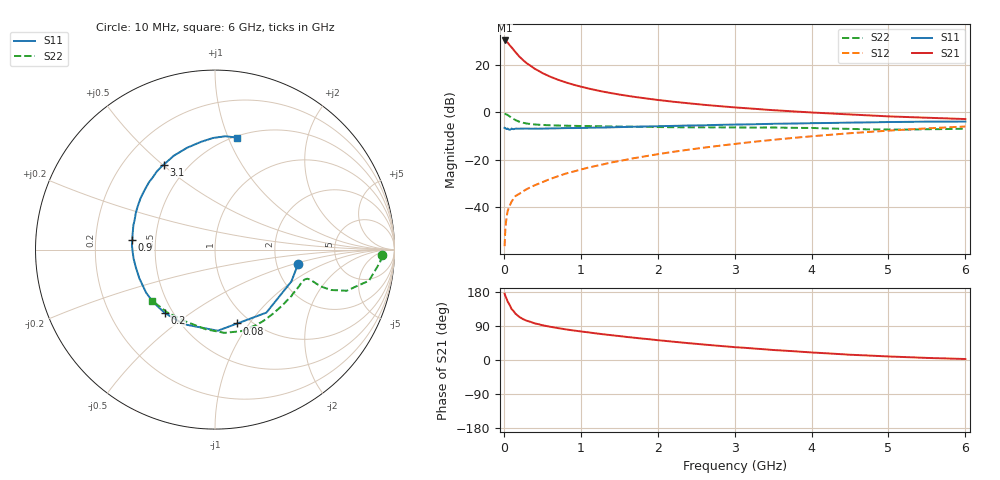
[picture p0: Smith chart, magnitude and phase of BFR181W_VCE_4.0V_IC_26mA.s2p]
! Infineon Technologies  Discrete & RF Semiconductors
! BFR181W
! VCE =  4.0 V,  IC =  26 mA
! Common Emitter S-Parameters:  Jan 2017
# GHz  S  MA  R  50
!  f  S11  S21  S12  S22
! GHz  MAG  ANG  MAG  ANG  MAG  ANG  MAG  ANG
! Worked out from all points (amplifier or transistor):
!   77 points, 10 MHz to 6 GHz, reference 50 ohm
!   highest |S21| = 30.3 dB at 10 MHz (marker M1)
!   |S21| within 3 dB of that: start of sweep to 103.1 MHz
!   unconditionally stable (mu >= 1): start of sweep to 10.66 MHz; 368.5 MHz to 2.601 GHz
!   at 130 MHz: K = 0.56, MSG = 31.2 dB, |S12| = -36.2 dB
!   at 2.2 GHz: K = 1.06, MAG = 9.1 dB, |S12| = -16.7 dB
!   at 6 GHz: K = 0.91, MSG = 1.6 dB, |S12| = -6.0 dB
!   S11 on the Smith chart (normalised r, x): 10 MHz: 2.63, -0.56; 80 MHz: 0.87, -0.88; 200 MHz: 0.45, -0.40; 900 MHz: 0.37, +0.05; 3.1 GHz: 0.37, +0.51; 6 GHz: 0.52, +1.08
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0.01  0.4696 -10.1  32.67 174.9  0.0015 80.3  0.9324 -2.0
0.02  0.4609 -22.7  32.22 168.9  0.0036 87.9  0.9215 -4.5
0.05  0.453 -50.8  29.38 154.0  0.0083 72.0  0.8755 -11.4
0.08  0.4299 -73.2  25.46 143.5  0.0111 66.9  0.8095 -14.8
0.1  0.4523 -88.0  23.46 134.7  0.013 64.7  0.7673 -17.4
0.15  0.4508 -112.8  18.62 122.5  0.0171 61.3  0.6846 -19.2
0.2  0.4503 -128.3  15.05 113.9  0.019 60.0  0.6326 -19.2
0.25  0.4522 -139.5  12.57 107.8  0.0216 59.6  0.6004 -18.7
0.3  0.4527 -147.8  10.74 103.4  0.024 62.2  0.5779 -18.1
0.4  0.4509 -159.2  8.295 96.7  0.0288 66.2  0.5529 -17.5
0.5  0.4521 -167.6  6.72 91.8  0.0335 68.2  0.5401 -17.5
0.6  0.4563 -173.6  5.651 87.8  0.0391 69.7  0.5314 -18.0
0.7  0.4591 -178.5  4.876 84.3  0.0445 72.6  0.5256 -18.6
0.9  0.4641 173.1  3.831 78.1  0.0559 74.8  0.5175 -20.8
1.1  0.4705 166.1  3.171 72.9  0.0683 77.1  0.5114 -23.3
1.3  0.4767 160.2  2.703 67.7  0.0803 77.7  0.5051 -26.3
1.5  0.4863 155.1  2.366 63.2  0.0936 78.3  0.4991 -29.6
2.1  0.5115 140.8  1.743 50.4  0.1382 77.8  0.4853 -41.4
3.1  0.5531 121.0  1.233 32.6  0.224 71.9  0.4772 -63.4
4.1  0.5909 103.7  0.971 18.8  0.3211 62.5  0.4609 -86.1
5.1  0.6238 89.7  0.808 8.6  0.4189 50.9  0.4314 -115.1
6  0.6362 78.7  0.719 2.6  0.5011 39.8  0.4512 -140.9
